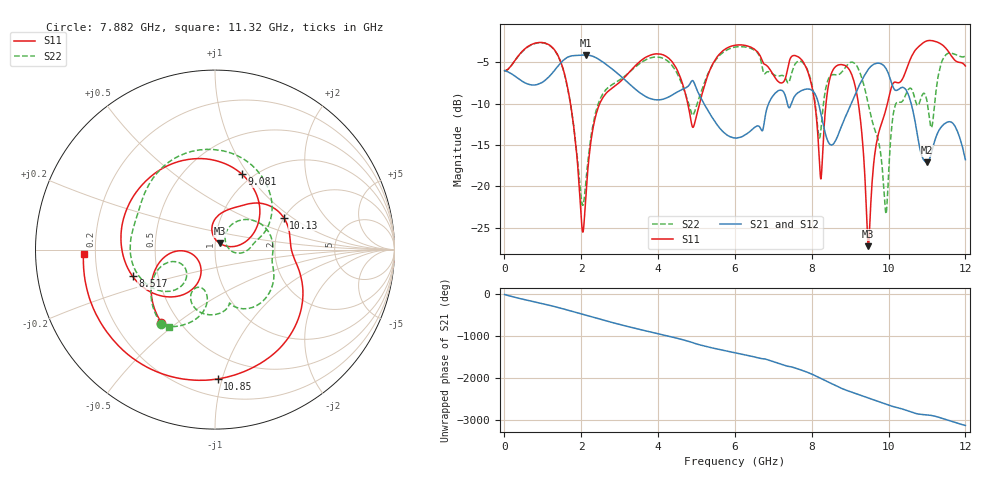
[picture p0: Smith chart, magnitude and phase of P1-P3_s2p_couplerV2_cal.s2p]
!Keysight Technologies,N5242B,US61255121,A.15.50.07
!Date: Tuesday, October 28, 2025 15:22:14
!Correction: S11(C  2-Port  )
!S21(C  2-Port  )
!S12(C  2-Port  )
!S22(C  2-Port  )
!S2P File: Measurements: S11, S21, S12, S22:
# Hz S  dB  R 50
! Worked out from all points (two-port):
!   11991 points, 10 MHz to 12 GHz, reference 50 ohm
!   highest |S21| = -4.14 dB at 2.117 GHz (marker M1); lowest = -17.1 dB at 10.99 GHz (marker M2)
!   |S21| within 3 dB of the highest: 1.079 GHz to 3.14 GHz (2.061 GHz wide, 97.7 % of centre); 9.311 GHz to 10.05 GHz (742.4 MHz wide, 7.67 % of centre) (the widest 2 of 3)
!   lowest |S11| = -27.2 dB at 9.474 GHz (marker M3), VSWR 1.09, Z = 52.5 + j3.74 ohm
!   |S11| at or under -10 dB: 1.724 GHz to 2.486 GHz (762.3 MHz wide, 36.2 % of centre); 4.776 GHz to 5.083 GHz (307.8 MHz wide, 6.24 % of centre); 9.215 GHz to 9.971 GHz (755.9 MHz wide, 7.88 % of centre) (the widest 3 of 4)
!   |S22| runs from -23.3 to -2.7 dB; largest |S21 - S12| = 0.0014
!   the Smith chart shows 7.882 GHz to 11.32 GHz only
!   S11 on the Smith chart (normalised r, x): 7.882 GHz: 0.40, -0.44; 8.517 GHz: 0.36, -0.14; 9.081 GHz: 0.89, +0.93; 10.13 GHz: 1.99, +0.86; 10.85 GHz: 0.32, -0.97; 11.32 GHz: 0.15, -0.02
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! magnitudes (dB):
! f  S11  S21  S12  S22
! 10 MHz  -6.0  -6.0  -6.0  -6.0
! 1.39 GHz  -4.1  -5.5  -5.5  -4.2
! 1.749 GHz  -10.8  -4.3  -4.3  -10.8
! 2.009 GHz  -24.1  -4.2  -4.2  -21.6
! 2.117 GHz  -21.6  -4.1  -4.1  -19.8
! 2.517 GHz  -9.7  -4.8  -4.8  -9.2
! 4.007 GHz  -4.0  -9.6  -9.5  -4.4
! 4.918 GHz  -12.9  -7.3  -7.3  -11.4
! 6.005 GHz  -3.0  -14.2  -14.1  -3.2
! 7.882 GHz  -5.9  -8.2  -8.2  -5.8
! 8.004 GHz  -7.9  -8.4  -8.4  -7.7
! 8.239 GHz  -19.1  -11.2  -11.2  -13.3
! 8.517 GHz  -6.3  -15.0  -15.0  -6.5
! 9.081 GHz  -7.0  -9.4  -9.4  -5.0
! 9.474 GHz  -27.2  -5.9  -5.9  -10.1
! 9.917 GHz  -11.0  -5.7  -5.6  -22.8
! 10 GHz  -9.4  -6.4  -6.4  -18.4
! 10.13 GHz  -7.5  -8.1  -8.1  -11.1
! 10.85 GHz  -2.8  -16.1  -16.1  -9.2
! 10.99 GHz  -2.5  -17.1  -17.1  -9.5
! 11.32 GHz  -2.7  -13.2  -13.2  -6.0
! 12 GHz  -5.5  -16.8  -16.8  -4.2
